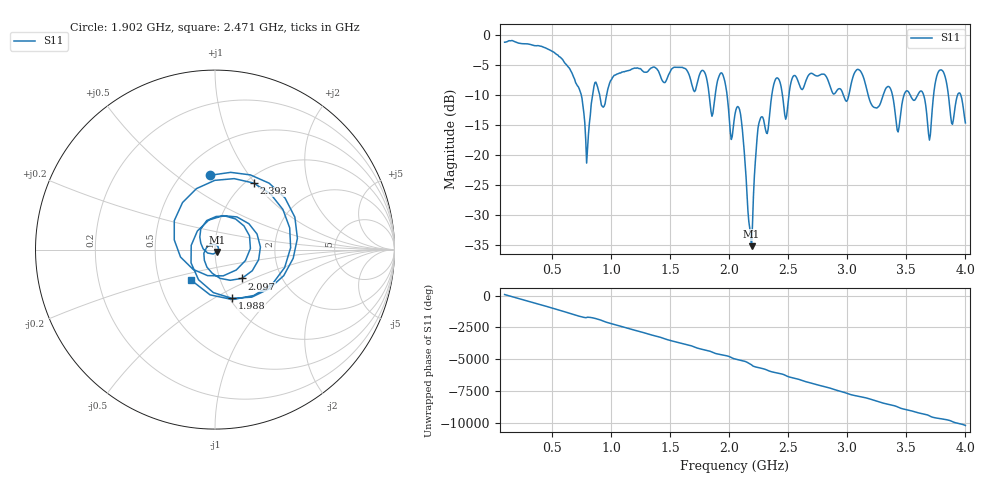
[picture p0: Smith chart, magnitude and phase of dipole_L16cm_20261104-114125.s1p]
! Dipole length 16 cm, measured 20261104-114125
# GHZ S RI R 50.000000000000
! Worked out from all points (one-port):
!   501 points, 100 MHz to 4 GHz, reference 50 ohm
!   lowest |S11| = -35.2 dB at 2.19 GHz (marker M1), VSWR 1.04, Z = 51.2 - j1.29 ohm
!   |S11| at or under -10 dB: 1.983 GHz to 2.362 GHz (378.8 MHz wide, 17.4 % of centre); 3.177 GHz to 3.304 GHz (127.3 MHz wide, 3.93 % of centre); 3.383 GHz to 3.481 GHz (98.23 MHz wide, 2.86 % of centre)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
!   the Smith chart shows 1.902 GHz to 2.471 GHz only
!   S11 on the Smith chart (normalised r, x): 1.902 GHz: 0.68, +0.68; 1.988 GHz: 1.03, -0.61; 2.097 GHz: 1.27, -0.43; 2.393 GHz: 1.08, +0.99; 2.471 GHz: 0.73, -0.26
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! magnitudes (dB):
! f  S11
! 100 MHz  -1.2
! 591.4 MHz  -4.1
! 739.6 MHz  -9.4
! 794.2 MHz  -21.4
! 864.4 MHz  -7.9
! 1.075 GHz  -6.3
! 1.566 GHz  -5.4
! 1.785 GHz  -6.0
! 1.855 GHz  -13.5
! 1.902 GHz  -7.6
! 1.988 GHz  -10.8
! 2.019 GHz  -17.4
! 2.058 GHz  -12.5
! 2.097 GHz  -13.2
! 2.19 GHz  -35.2
! 2.253 GHz  -14.7
! 2.323 GHz  -16.4
! 2.393 GHz  -7.4
! 2.471 GHz  -13.3
! 2.541 GHz  -6.9
! 3.025 GHz  -8.9
! 3.353 GHz  -8.6
! 3.431 GHz  -16.2
! 3.516 GHz  -9.4
! 3.696 GHz  -17.5
! 3.797 GHz  -5.8
! 3.883 GHz  -14.7
! 4 GHz  -14.6
